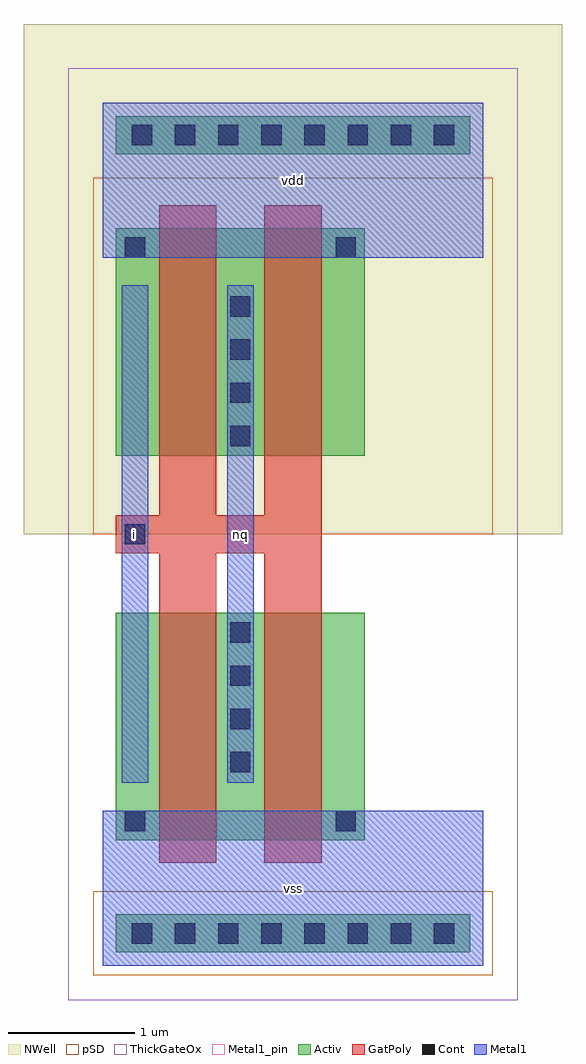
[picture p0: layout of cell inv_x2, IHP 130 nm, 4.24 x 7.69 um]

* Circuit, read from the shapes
.subckt inv_x2 i nq vdd vss
XM1 nq i vss vss sg13_hv_nmos w=1.79u l=0.45u m=2
XM2 nq i vdd vdd sg13_hv_pmos w=1.79u l=0.45u m=2
.ends

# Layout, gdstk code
import gdstk
lib = gdstk.Library(unit=1e-6, precision=1e-09)
def R(c, l, rs):  # rectangles x0, y0, x1, y1
    for r in rs: c.add(gdstk.rectangle(r[:2], r[2:], *l))
def A(c, l, x, y, w, h, nx, ny, dx, dy):  # array of equal rectangles
    R(c, l, [(x+i*dx, y+j*dy, x+i*dx+w, y+j*dy+h) for i in range(nx) for j in range(ny)])
def P(c, l, *ps):  # polygons
    for p in ps: c.add(gdstk.Polygon(p, *l))
Activ = (1, 0)
GatPoly = (5, 0)
Cont = (6, 0)
Metal1 = (8, 0)
Metal1_pin = (8, 2)
pSD = (14, 0)
NWell = (31, 0)
ThickGateOx = (44, 0)

inv_x2 = lib.new_cell('inv_x2')
R(inv_x2, Activ, [(0.105,0.105,2.895,0.405), (0.105,0.99,2.065,2.78), (0.105,4.02,2.065,5.81), (0.105,6.395,2.895,6.695)])
P(inv_x2, GatPoly, [(0.445,0.81),(0.445,3.25),(0.105,3.25),(0.105,3.55),(0.445,3.55),(0.445,5.99),(0.895,5.99),(0.895,3.55),(1.275,3.55),(1.275,5.99),(1.725,5.99),(1.725,0.81),(1.275,0.81),(1.275,3.25),(0.895,3.25),(0.895,0.81)])
A(inv_x2, Cont, 0.23, 0.175, 0.16, 0.16, 8, 2, 0.34, 6.29)
A(inv_x2, Cont, 0.175, 1.06, 0.16, 0.16, 1, 3, 0, 2.26)
A(inv_x2, Cont, 1.005, 1.525, 0.16, 0.16, 1, 4, 0, 0.34)
A(inv_x2, Cont, 1.005, 4.095, 0.16, 0.16, 1, 4, 0, 0.34)
R(inv_x2, Cont, [(1.835,1.06,1.995,1.22), (1.835,5.58,1.995,5.74)])
R(inv_x2, Metal1, [(0,0,3,1.22), (0.15,1.44,0.36,5.36), (0.98,1.44,1.19,5.36), (0,5.58,3,6.8)])
R(inv_x2, Metal1_pin, [(0,0,3,1.22), (0.15,1.44,0.36,5.36), (0.98,1.44,1.19,5.36), (0,5.58,3,6.8)])
R(inv_x2, pSD, [(-0.075,-0.075,3.075,0.585), (-0.075,3.4,3.075,6.21)])
R(inv_x2, NWell, [(-0.62,3.4,3.62,7.42)])
R(inv_x2, ThickGateOx, [(-0.27,-0.27,3.27,7.07)])
inv_x2.add(gdstk.Label('vss', (1.5,0.61), layer=8, texttype=2))
inv_x2.add(gdstk.Label('vdd', (1.5,6.19), layer=8, texttype=2))
inv_x2.add(gdstk.Label('nq', (1.085,3.4), layer=8, texttype=2))
inv_x2.add(gdstk.Label('i', (0.255,3.4), layer=8, texttype=2))

lib.write_gds('inv_x2.gds')
